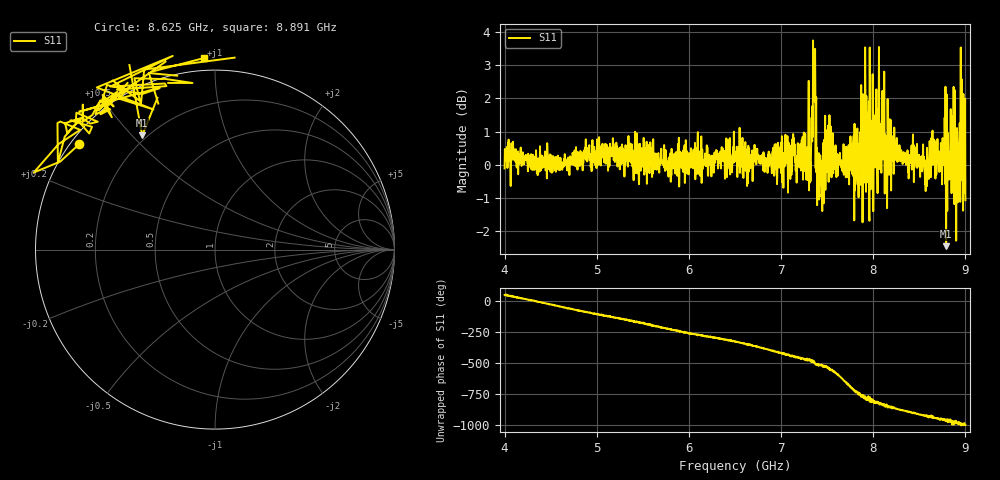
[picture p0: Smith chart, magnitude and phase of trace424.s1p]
! Created with skrf 1.8.0 (http://scikit-rf.org).
# Hz S RI R 50.0
!freq ReS11 ImS11
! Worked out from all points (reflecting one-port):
!   1601 points, 4 GHz to 9 GHz, reference 50 ohm
!   lowest |S11| = -2.4 dB at 8.791 GHz (marker M1), VSWR 7.16, Z = 9.04 + j26.7 ohm
!   phase of S11 starts at 50 deg and turns -1050 deg over the sweep
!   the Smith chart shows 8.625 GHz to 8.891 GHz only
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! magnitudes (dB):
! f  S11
! 4 GHz  -0.1
! 4.1 GHz  0.3
! 4.625 GHz  -0.1
! 5.25 GHz  -0.1
! 5.875 GHz  -0.3
! 6.5 GHz  0.2
! 7.125 GHz  0.4
! 7.297 GHz  1.3
! 7.356 GHz  2.2
! 7.372 GHz  2.2
! 7.4 GHz  -0.4
! 7.428 GHz  -0.2
! 7.512 GHz  1.2
! 7.591 GHz  0.6
! 7.75 GHz  0.3
! 7.859 GHz  1.0
! 7.928 GHz  0.9
! 7.956 GHz  -1.5
! 8.012 GHz  1.4
! 8.375 GHz  0.1
! 8.45 GHz  0.4
! 8.581 GHz  -0.6
! 8.634 GHz  0.4
! 8.791 GHz  -2.4
! 8.919 GHz  0.0
! 8.944 GHz  -1.1
! 8.972 GHz  0.5
! 9 GHz  -1.1
